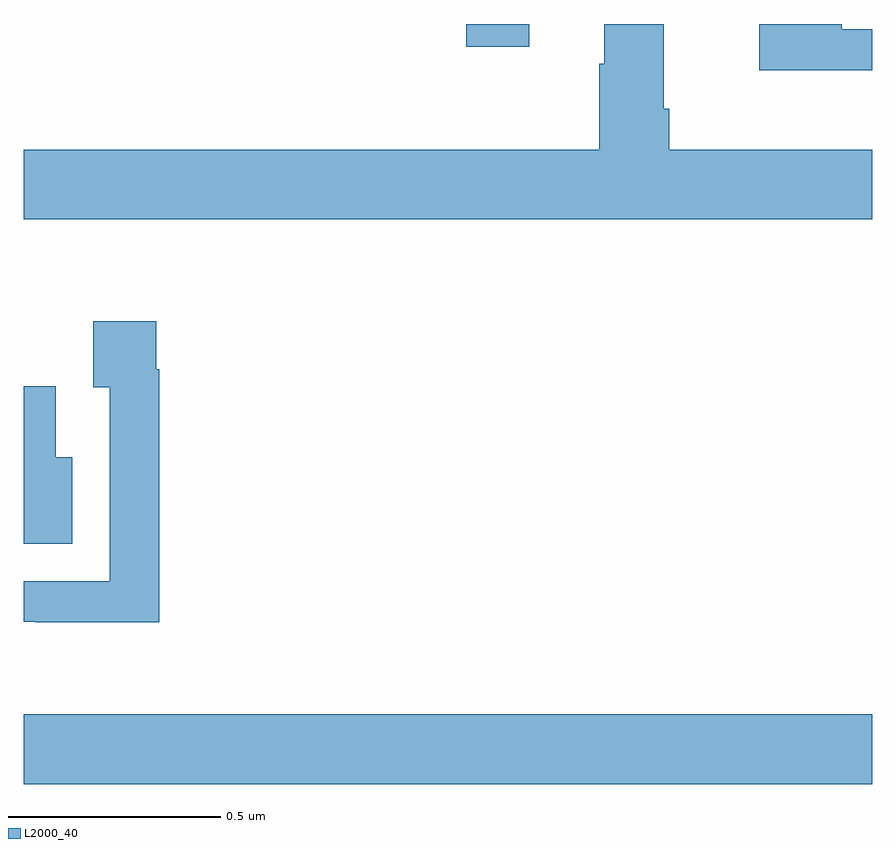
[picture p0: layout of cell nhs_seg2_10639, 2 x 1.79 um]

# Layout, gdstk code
import gdstk
lib = gdstk.Library(unit=1e-6, precision=1e-09)
def R(c, l, rs):  # rectangles x0, y0, x1, y1
    for r in rs: c.add(gdstk.rectangle(r[:2], r[2:], *l))
def P(c, l, *ps):  # polygons
    for p in ps: c.add(gdstk.Polygon(p, *l))
L2000_40 = (2000, 40)

nhs_seg2_10639 = lib.new_cell('nhs_seg2_10639')
R(nhs_seg2_10639, L2000_40, [(244,609.008,246,609.172), (245.043,610.746,245.191,610.8)])
P(nhs_seg2_10639, L2000_40, [(246,610.504),(245.522,610.504),(245.522,610.6),(245.509,610.6),(245.509,610.8),(245.369,610.8),(245.369,610.706),(245.357,610.706),(245.357,610.504),(244,610.504),(244,610.34),(246,610.34)],
  [(246,610.788),(245.929,610.788),(245.929,610.8),(245.734,610.8),(245.734,610.691),(246,610.691)],
  [(244.319,609.986),(244.312,609.986),(244.312,610.099),(244.163,610.099),(244.163,609.943),(244.203,609.943),(244.203,609.486),(244,609.486),(244,609.39),(244.027,609.39),(244.027,609.389),(244.319,609.389)],
  [(244.114,609.778),(244.075,609.778),(244.075,609.946),(244,609.946),(244,609.575),(244.114,609.575)])

lib.write_gds('nhs_seg2_10639.gds')
